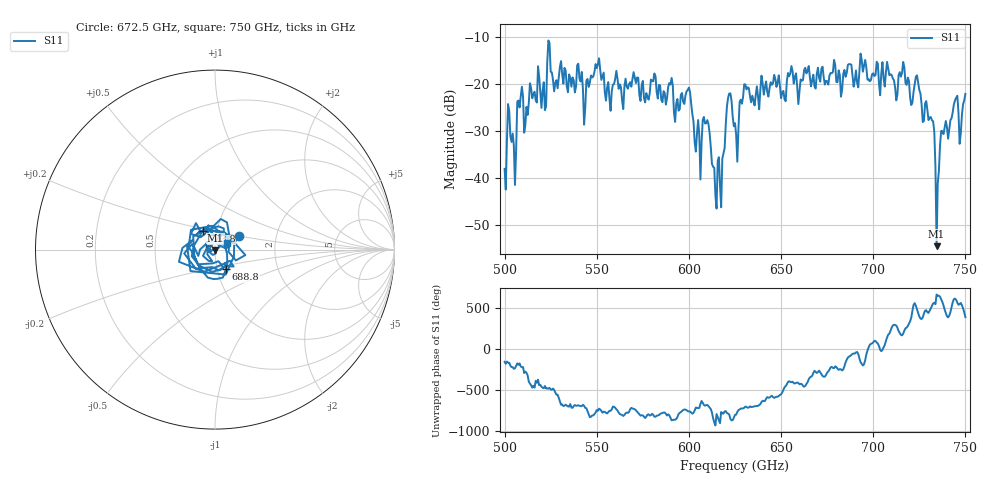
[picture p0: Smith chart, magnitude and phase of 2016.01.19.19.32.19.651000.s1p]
!Created with skrf (http://scikit-rf.org).
# GHz S RI R 50.0
!freq ReS11 ImS11
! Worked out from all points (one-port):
!   401 points, 500 GHz to 750 GHz, reference 50 ohm
!   lowest |S11| = -54.5 dB at 734.4 GHz (marker M1), VSWR 1.00, Z = 50.1 - j0.153 ohm
!   |S11| at or under -10 dB: start of sweep to end of sweep
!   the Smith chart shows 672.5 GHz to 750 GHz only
!   S11 on the Smith chart (normalised r, x): 672.5 GHz: 1.29, +0.20; 688.8 GHz: 1.10, -0.24; 723.8 GHz: 0.85, +0.18; 750 GHz: 1.14, +0.09
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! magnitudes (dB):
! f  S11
! 500 GHz  -38.0
! 502.5 GHz  -25.7
! 505 GHz  -33.0
! 508.1 GHz  -24.9
! 511.9 GHz  -24.8
! 521.2 GHz  -19.6
! 524.4 GHz  -11.2
! 531.2 GHz  -17.9
! 562.5 GHz  -20.0
! 590 GHz  -20.1
! 593.8 GHz  -23.1
! 600 GHz  -20.7
! 605 GHz  -27.6
! 609.4 GHz  -28.3
! 616.2 GHz  -35.5
! 621.9 GHz  -22.0
! 625 GHz  -28.3
! 631.2 GHz  -21.1
! 656.2 GHz  -17.3
! 672.5 GHz  -16.3
! 687.5 GHz  -15.7
! 688.8 GHz  -18.2
! 718.8 GHz  -18.6
! 723.8 GHz  -18.1
! 731.9 GHz  -27.7
! 734.4 GHz  -54.5
! 738.1 GHz  -30.6
! 750 GHz  -22.1
